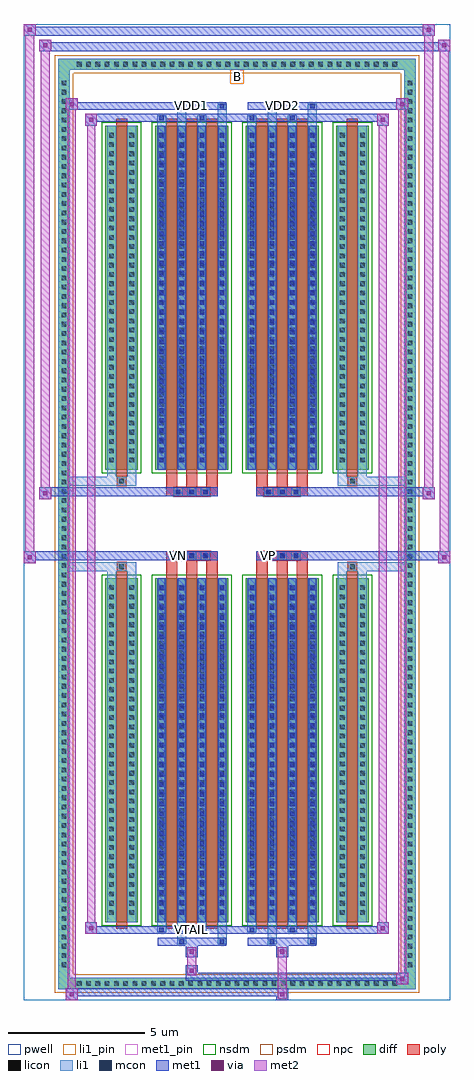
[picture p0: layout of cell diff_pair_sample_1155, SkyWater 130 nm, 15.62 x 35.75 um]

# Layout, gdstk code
import gdstk
lib = gdstk.Library(unit=1e-6, precision=5e-09)
def R(c, l, rs):  # rectangles x0, y0, x1, y1
    for r in rs: c.add(gdstk.rectangle(r[:2], r[2:], *l))
def A(c, l, x, y, w, h, nx, ny, dx, dy):  # array of equal rectangles
    R(c, l, [(x+i*dx, y+j*dy, x+i*dx+w, y+j*dy+h) for i in range(nx) for j in range(ny)])
def P(c, l, *ps):  # polygons
    for p in ps: c.add(gdstk.Polygon(p, *l))
pwell = (64, 44)
diff = (65, 20)
poly = (66, 20)
licon = (66, 44)
li1_pin = (67, 16)
li1 = (67, 20)
mcon = (67, 44)
met1_pin = (68, 16)
met1 = (68, 20)
via = (68, 44)
met2 = (69, 20)
nsdm = (93, 44)
psdm = (94, 20)
npc = (95, 20)

diff_pair_sample_1155 = lib.new_cell('diff_pair_sample_1155')
R(diff_pair_sample_1155, pwell, [(-7.81,-17.44,7.81,18.31), (-5.13,-15.63,-0.01,-0.805), (0.01,-15.63,5.13,-0.805), (-5.13,0.805,-0.01,15.63), (0.01,0.805,5.13,15.63)])
A(diff_pair_sample_1155, diff, -5.985, -17.04, 0.41, 0.41, 35, 2, 0.34, 33.67)
A(diff_pair_sample_1155, diff, -6.54, -16.355, 0.41, 0.41, 1, 96, 0, 0.34)
A(diff_pair_sample_1155, diff, 6.13, -16.355, 0.41, 0.41, 1, 96, 0, 0.34)
R(diff_pair_sample_1155, diff, [(-5.985,-17.04,5.985,-16.63), (-6.54,-16.355,-6.13,16.355), (6.13,-16.355,6.54,16.355), (-4.82,-14.585,-3.63,-1.985), (-2.99,-14.585,-0.32,-1.985), (0.32,-14.585,2.99,-1.985), (3.63,-14.585,4.82,-1.985), (-4.82,1.985,-3.63,14.585), (-2.99,1.985,-0.32,14.585), (0.32,1.985,2.99,14.585), (3.63,1.985,4.82,14.585), (-5.985,16.63,5.985,17.04)])
P(diff_pair_sample_1155, diff, [(6.54,17.04),(-6.54,17.04),(-6.54,-16.63),(-6.13,-16.63),(-6.13,16.63),(6.13,16.63),(6.13,-16.63),(-6.13,-16.63),(-6.54,-16.63),(-6.54,-17.04),(6.54,-17.04)])
A(diff_pair_sample_1155, poly, -2.6, -14.835, 0.41, 13.1, 3, 2, 0.74, 16.57)
A(diff_pair_sample_1155, poly, 0.71, -14.835, 0.41, 13.1, 3, 2, 0.74, 16.57)
A(diff_pair_sample_1155, poly, -2.6, -1.735, 0.41, 0.4, 3, 2, 0.74, 3.07)
A(diff_pair_sample_1155, poly, 0.71, -1.735, 0.41, 0.4, 3, 2, 0.74, 3.07)
A(diff_pair_sample_1155, poly, -2.32, -1.335, 0.33, 0.33, 3, 2, 0.5, 2.34)
A(diff_pair_sample_1155, poly, 0.99, -1.335, 0.33, 0.33, 3, 2, 0.5, 2.34)
R(diff_pair_sample_1155, poly, [(-4.43,-14.835,-4.02,-1.735), (4.02,-14.835,4.43,-1.735), (-4.39,-1.735,-4.06,-1.405), (-4.39,-1.735,-4.06,-1.405), (4.06,-1.735,4.39,-1.405), (4.06,-1.735,4.39,-1.405), (-2.6,-1.335,-0.71,-1.005), (0.71,-1.335,2.6,-1.005), (-2.6,1.005,-0.71,1.335), (0.71,1.005,2.6,1.335), (-4.39,1.405,-4.06,1.735), (-4.39,1.405,-4.06,1.735), (4.06,1.405,4.39,1.735), (4.06,1.405,4.39,1.735), (-4.43,1.735,-4.02,14.835), (4.02,1.735,4.43,14.835)])
A(diff_pair_sample_1155, licon, -5.865, -16.92, 0.17, 0.17, 35, 2, 0.34, 33.67)
A(diff_pair_sample_1155, licon, -6.42, -16.235, 0.17, 0.17, 1, 96, 0, 0.34)
A(diff_pair_sample_1155, licon, 6.25, -16.235, 0.17, 0.17, 1, 96, 0, 0.34)
A(diff_pair_sample_1155, licon, -4.68, -14.32, 0.17, 0.17, 1, 36, 0, 0.34)
A(diff_pair_sample_1155, licon, -3.94, -14.32, 0.17, 0.17, 1, 36, 0, 0.34)
A(diff_pair_sample_1155, licon, -2.85, -14.32, 0.17, 0.17, 4, 36, 0.74, 0.34)
A(diff_pair_sample_1155, licon, 0.46, -14.32, 0.17, 0.17, 4, 36, 0.74, 0.34)
A(diff_pair_sample_1155, licon, 3.77, -14.32, 0.17, 0.17, 1, 36, 0, 0.34)
A(diff_pair_sample_1155, licon, 4.51, -14.32, 0.17, 0.17, 1, 36, 0, 0.34)
A(diff_pair_sample_1155, licon, -2.24, -1.255, 0.17, 0.17, 3, 2, 0.5, 2.34)
A(diff_pair_sample_1155, licon, 1.07, -1.255, 0.17, 0.17, 3, 2, 0.5, 2.34)
A(diff_pair_sample_1155, licon, -4.68, 2.25, 0.17, 0.17, 1, 36, 0, 0.34)
A(diff_pair_sample_1155, licon, -3.94, 2.25, 0.17, 0.17, 1, 36, 0, 0.34)
A(diff_pair_sample_1155, licon, -2.85, 2.25, 0.17, 0.17, 4, 36, 0.74, 0.34)
A(diff_pair_sample_1155, licon, 0.46, 2.25, 0.17, 0.17, 4, 36, 0.74, 0.34)
A(diff_pair_sample_1155, licon, 3.77, 2.25, 0.17, 0.17, 1, 36, 0, 0.34)
A(diff_pair_sample_1155, licon, 4.51, 2.25, 0.17, 0.17, 1, 36, 0, 0.34)
R(diff_pair_sample_1155, licon, [(-4.31,-1.655,-4.14,-1.485), (4.14,-1.655,4.31,-1.485), (-4.31,1.485,-4.14,1.655), (4.14,1.485,4.31,1.655)])
R(diff_pair_sample_1155, li1_pin, [(-0.25,16.13,0.25,16.63)])
A(diff_pair_sample_1155, li1, -5.945, -17, 0.33, 0.33, 35, 2, 0.34, 33.67)
A(diff_pair_sample_1155, li1, -6.5, -16.315, 0.33, 0.33, 1, 96, 0, 0.34)
A(diff_pair_sample_1155, li1, 6.17, -16.315, 0.33, 0.33, 1, 96, 0, 0.34)
A(diff_pair_sample_1155, li1, -2.93, -14.585, 0.33, 12.6, 4, 2, 0.74, 16.57)
A(diff_pair_sample_1155, li1, 0.38, -14.585, 0.33, 12.6, 4, 2, 0.74, 16.57)
A(diff_pair_sample_1155, li1, -4.76, -14.4, 0.33, 0.33, 1, 36, 0, 0.34)
A(diff_pair_sample_1155, li1, -4.02, -14.4, 0.33, 0.33, 1, 36, 0, 0.34)
A(diff_pair_sample_1155, li1, -2.93, -14.4, 0.33, 0.33, 4, 36, 0.74, 0.34)
A(diff_pair_sample_1155, li1, 0.38, -14.4, 0.33, 0.33, 4, 36, 0.74, 0.34)
A(diff_pair_sample_1155, li1, 3.69, -14.4, 0.33, 0.33, 1, 36, 0, 0.34)
A(diff_pair_sample_1155, li1, 4.43, -14.4, 0.33, 0.33, 1, 36, 0, 0.34)
A(diff_pair_sample_1155, li1, -2.85, -14.31, 0.17, 0.17, 4, 34, 0.74, 0.36)
A(diff_pair_sample_1155, li1, -2.85, -14.31, 0.17, 12.05, 4, 2, 0.74, 16.57)
A(diff_pair_sample_1155, li1, 0.46, -14.31, 0.17, 0.17, 4, 34, 0.74, 0.36)
A(diff_pair_sample_1155, li1, 0.46, -14.31, 0.17, 12.05, 4, 2, 0.74, 16.57)
A(diff_pair_sample_1155, li1, -2.32, -1.335, 0.33, 0.33, 3, 2, 0.5, 2.34)
A(diff_pair_sample_1155, li1, 0.99, -1.335, 0.33, 0.33, 3, 2, 0.5, 2.34)
A(diff_pair_sample_1155, li1, -4.76, 2.17, 0.33, 0.33, 1, 36, 0, 0.34)
A(diff_pair_sample_1155, li1, -4.02, 2.17, 0.33, 0.33, 1, 36, 0, 0.34)
A(diff_pair_sample_1155, li1, -2.93, 2.17, 0.33, 0.33, 4, 36, 0.74, 0.34)
A(diff_pair_sample_1155, li1, 0.38, 2.17, 0.33, 0.33, 4, 36, 0.74, 0.34)
A(diff_pair_sample_1155, li1, 3.69, 2.17, 0.33, 0.33, 1, 36, 0, 0.34)
A(diff_pair_sample_1155, li1, 4.43, 2.17, 0.33, 0.33, 1, 36, 0, 0.34)
A(diff_pair_sample_1155, li1, -2.85, 2.26, 0.17, 0.17, 4, 34, 0.74, 0.36)
A(diff_pair_sample_1155, li1, 0.46, 2.26, 0.17, 0.17, 4, 34, 0.74, 0.36)
R(diff_pair_sample_1155, li1, [(-6.54,-17.04,-6.13,-16.63), (-6.54,-17.04,-6.13,-16.63), (-6.13,-17.04,6.13,-16.63), (6.13,-17.04,6.54,-16.63), (6.13,-17.04,6.54,-16.63), (-6.54,-16.63,-6.13,16.63), (6.13,-16.63,6.54,16.63), (-2.19,-15.39,-1.86,-14.585), (-2.11,-15.39,-1.94,-15.22), (-0.71,-15.39,-0.38,-14.585), (-0.63,-15.39,-0.46,-15.22), (1.12,-15.39,1.45,-14.585), (1.2,-15.39,1.37,-15.22), (2.6,-15.39,2.93,-14.585), (2.68,-15.39,2.85,-15.22), (-2.93,-14.96,-2.6,-14.585), (-2.85,-14.96,-2.68,-14.79), (-1.45,-14.96,-1.12,-14.585), (-1.37,-14.96,-1.2,-14.79), (0.38,-14.96,0.71,-14.585), (0.46,-14.96,0.63,-14.79), (1.86,-14.96,2.19,-14.585), (1.94,-14.96,2.11,-14.79), (-4.76,-14.585,-4.43,-1.985), (-4.02,-14.585,-3.69,-1.985), (3.69,-14.585,4.02,-1.985), (4.43,-14.585,4.76,-1.985), (-4.76,-1.985,-4.43,-1.405), (-4.02,-1.985,-3.69,-1.405), (3.69,-1.985,4.02,-1.405), (4.43,-1.985,4.76,-1.405), (-6.54,-1.735,-4.39,-1.405), (-4.76,-1.735,-4.39,-1.405), (-4.39,-1.735,-4.06,-1.405), (-4.06,-1.735,-3.69,-1.405), (3.69,-1.735,4.06,-1.405), (4.06,-1.735,4.39,-1.405), (4.06,-1.735,6.54,-1.405), (4.39,-1.735,4.76,-1.405), (-6.54,1.405,-4.39,1.735), (-4.76,1.405,-4.39,1.735), (-4.76,1.405,-4.43,1.985), (-4.39,1.405,-4.06,1.735), (-4.06,1.405,-3.69,1.735), (-4.02,1.405,-3.69,1.985), (3.69,1.405,4.06,1.735), (3.69,1.405,4.02,1.985), (4.06,1.405,4.39,1.735), (4.06,1.405,6.54,1.735), (4.39,1.405,4.76,1.735), (4.43,1.405,4.76,1.985), (-4.76,1.985,-4.43,14.585), (-4.02,1.985,-3.69,14.585), (3.69,1.985,4.02,14.585), (4.43,1.985,4.76,14.585), (-2.93,14.585,-2.6,14.96), (-2.19,14.585,-1.86,15.39), (-1.45,14.585,-1.12,14.96), (-0.71,14.585,-0.38,15.39), (0.38,14.585,0.71,14.96), (1.12,14.585,1.45,15.39), (1.86,14.585,2.19,14.96), (2.6,14.585,2.93,15.39), (-2.85,14.79,-2.68,14.96), (-1.37,14.79,-1.2,14.96), (0.46,14.79,0.63,14.96), (1.94,14.79,2.11,14.96), (-2.11,15.22,-1.94,15.39), (-0.63,15.22,-0.46,15.39), (1.2,15.22,1.37,15.39), (2.68,15.22,2.85,15.39), (-6.54,16.63,-6.13,17.04), (-6.54,16.63,-6.13,17.04), (-6.13,16.63,6.13,17.04), (6.13,16.63,6.54,17.04), (6.13,16.63,6.54,17.04)])
A(diff_pair_sample_1155, mcon, -2.85, -14.31, 0.17, 0.17, 4, 34, 0.74, 0.36)
A(diff_pair_sample_1155, mcon, 0.46, -14.31, 0.17, 0.17, 4, 34, 0.74, 0.36)
A(diff_pair_sample_1155, mcon, -2.24, -1.255, 0.17, 0.17, 3, 2, 0.5, 2.34)
A(diff_pair_sample_1155, mcon, 1.07, -1.255, 0.17, 0.17, 3, 2, 0.5, 2.34)
A(diff_pair_sample_1155, mcon, -2.85, 2.26, 0.17, 0.17, 4, 34, 0.74, 0.36)
A(diff_pair_sample_1155, mcon, 0.46, 2.26, 0.17, 0.17, 4, 34, 0.74, 0.36)
R(diff_pair_sample_1155, mcon, [(-2.11,-15.39,-1.94,-15.22), (-0.63,-15.39,-0.46,-15.22), (1.2,-15.39,1.37,-15.22), (2.68,-15.39,2.85,-15.22), (-2.85,-14.96,-2.68,-14.79), (-1.37,-14.96,-1.2,-14.79), (0.46,-14.96,0.63,-14.79), (1.94,-14.96,2.11,-14.79), (-2.85,14.79,-2.68,14.96), (-1.37,14.79,-1.2,14.96), (0.46,14.79,0.63,14.96), (1.94,14.79,2.11,14.96), (-2.11,15.22,-1.94,15.39), (-0.63,15.22,-0.46,15.39), (1.2,15.22,1.37,15.39), (2.68,15.22,2.85,15.39)])
R(diff_pair_sample_1155, met1_pin, [(-1.79,-15,-1.52,-14.73), (-2.29,-1.295,-2.02,-1.025), (1.02,-1.295,1.29,-1.025), (-1.79,15.18,-1.52,15.45), (1.52,15.18,1.79,15.45)])
A(diff_pair_sample_1155, met1, -2.91, -14.585, 0.29, 12.6, 4, 2, 0.74, 16.57)
A(diff_pair_sample_1155, met1, 0.4, -14.585, 0.29, 12.6, 4, 2, 0.74, 16.57)
A(diff_pair_sample_1155, met1, -2.91, -14.37, 0.29, 0.29, 4, 34, 0.74, 0.36)
A(diff_pair_sample_1155, met1, 0.4, -14.37, 0.29, 0.29, 4, 34, 0.74, 0.36)
A(diff_pair_sample_1155, met1, -2.3, -1.315, 0.29, 0.29, 3, 2, 0.5, 2.34)
A(diff_pair_sample_1155, met1, 1.01, -1.315, 0.29, 0.29, 3, 2, 0.5, 2.34)
A(diff_pair_sample_1155, met1, -2.91, 2.2, 0.29, 0.29, 4, 34, 0.74, 0.36)
A(diff_pair_sample_1155, met1, 0.4, 2.2, 0.29, 0.29, 4, 34, 0.74, 0.36)
R(diff_pair_sample_1155, met1, [(-6.27,-17.44,-5.84,-17.01), (1.44,-17.44,1.87,-17.01), (-6.27,-17.3,1.87,-17.01), (5.84,-16.87,6.27,-16.44), (-1.87,-16.73,6.27,-16.44), (-1.87,-16.59,-1.44,-16.16), (-1.87,-15.88,-1.44,-15.45), (1.44,-15.88,1.87,-15.45), (-2.91,-15.45,-0.4,-15.16), (-2.17,-15.45,-1.88,-15.16), (-0.69,-15.45,-0.4,-15.16), (0.4,-15.45,2.91,-15.16), (1.14,-15.45,1.43,-15.16), (2.62,-15.45,2.91,-15.16), (-5.56,-15.02,-5.13,-14.59), (-5.56,-15.02,-2.91,-14.73), (-2.91,-15.02,-2.62,-14.73), (-2.91,-15.02,-0.4,-14.73), (-1.43,-15.02,-1.14,-14.73), (-0.4,-15.02,0.4,-14.73), (0.4,-15.02,0.69,-14.73), (0.4,-15.02,2.91,-14.73), (1.88,-15.02,2.17,-14.73), (2.91,-15.02,5.56,-14.73), (5.13,-15.02,5.56,-14.59), (-7.81,-1.435,-7.38,-1.005), (7.38,-1.435,7.81,-1.005), (-7.81,-1.335,-0.71,-1.005), (-2.6,-1.335,-0.71,-1.005), (0.71,-1.335,2.6,-1.005), (0.71,-1.335,7.81,-1.005), (-7.24,0.905,-6.81,1.335), (6.81,0.905,7.24,1.335), (-7.24,1.005,-2.6,1.335), (-2.6,1.005,-0.71,1.335), (0.71,1.005,2.6,1.335), (2.6,1.005,7.24,1.335), (-5.56,14.59,-5.13,15.02), (5.13,14.59,5.56,15.02), (-5.56,14.73,-2.91,15.02), (-2.91,14.73,-2.62,15.02), (-2.91,14.73,-0.4,15.02), (-1.43,14.73,-1.14,15.02), (-0.4,14.73,0.4,15.02), (0.4,14.73,0.69,15.02), (0.4,14.73,2.91,15.02), (1.88,14.73,2.17,15.02), (2.91,14.73,5.56,15.02), (-6.27,15.16,-5.84,15.59), (-6.27,15.16,-2.91,15.45), (-2.91,15.16,-0.4,15.45), (-2.17,15.16,-1.88,15.45), (-0.69,15.16,-0.4,15.45), (0.4,15.16,2.91,15.45), (1.14,15.16,1.43,15.45), (2.62,15.16,2.91,15.45), (2.91,15.16,6.27,15.45), (5.84,15.16,6.27,15.59), (-7.24,17.31,-6.81,17.74), (-7.24,17.31,-5.13,17.64), (-5.13,17.31,5.13,17.64), (5.13,17.31,7.81,17.64), (7.38,17.31,7.81,17.74), (-7.81,17.88,-7.38,18.31), (-7.81,17.88,-5.13,18.21), (-5.13,17.88,5.13,18.21), (5.13,17.88,7.24,18.21), (6.81,17.88,7.24,18.31)])
R(diff_pair_sample_1155, via, [(-6.13,-17.3,-5.98,-17.15), (1.58,-17.3,1.73,-17.15), (5.98,-16.73,6.13,-16.58), (-1.73,-16.45,-1.58,-16.3), (-1.73,-15.74,-1.58,-15.59), (1.58,-15.74,1.73,-15.59), (-5.42,-14.88,-5.27,-14.73), (5.27,-14.88,5.42,-14.73), (-7.67,-1.295,-7.52,-1.145), (7.52,-1.295,7.67,-1.145), (-7.1,1.045,-6.95,1.195), (6.95,1.045,7.1,1.195), (-5.42,14.73,-5.27,14.88), (5.27,14.73,5.42,14.88), (-6.13,15.3,-5.98,15.45), (5.98,15.3,6.13,15.45), (-7.1,17.45,-6.95,17.6), (7.52,17.45,7.67,17.6), (-7.67,18.02,-7.52,18.17), (6.95,18.02,7.1,18.17)])
R(diff_pair_sample_1155, met2, [(-6.27,-17.44,-5.84,-17.01), (-6.2,-17.44,-5.91,15.59), (-5.91,-17.44,-5.84,-17.01), (-6.22,-17.39,-5.89,-17.06), (1.49,-17.39,1.82,-17.06), (1.49,-17.06,1.82,-15.83), (5.84,-16.87,6.27,-16.44), (5.91,-16.87,6.2,15.59), (6.2,-16.87,6.27,-16.44), (5.89,-16.82,6.22,-16.49), (-1.82,-16.54,-1.49,-16.21), (-1.82,-16.21,-1.49,-15.83), (-1.82,-15.83,-1.49,-15.5), (1.49,-15.83,1.82,-15.5), (-5.56,-15.02,-5.13,-14.59), (-5.49,-15.02,-5.2,15.02), (-5.2,-15.02,-5.13,-14.59), (5.13,-15.02,5.56,-14.59), (5.2,-15.02,5.49,15.02), (5.49,-15.02,5.56,-14.59), (-5.51,-14.97,-5.18,-14.64), (5.18,-14.97,5.51,-14.64), (-7.81,-1.435,-7.38,-1.005), (-7.76,-1.435,-7.43,18.31), (-7.43,-1.435,-7.38,-1.005), (7.38,-1.435,7.81,-1.005), (7.43,-1.435,7.76,17.74), (7.76,-1.435,7.81,-1.005), (-7.76,-1.385,-7.43,-1.055), (7.43,-1.385,7.76,-1.055), (-7.24,0.905,-6.81,1.335), (-7.19,0.905,-6.86,17.74), (-6.86,0.905,-6.81,1.335), (6.81,0.905,7.24,1.335), (6.86,0.905,7.19,18.31), (7.19,0.905,7.24,1.335), (-7.19,0.955,-6.86,1.285), (6.86,0.955,7.19,1.285), (-5.56,14.59,-5.13,15.02), (-5.2,14.59,-5.13,15.02), (5.13,14.59,5.56,15.02), (5.49,14.59,5.56,15.02), (-5.51,14.64,-5.18,14.97), (5.18,14.64,5.51,14.97), (-6.27,15.16,-5.84,15.59), (-5.91,15.16,-5.84,15.59), (5.84,15.16,6.27,15.59), (6.2,15.16,6.27,15.59), (-6.22,15.21,-5.89,15.54), (5.89,15.21,6.22,15.54), (-7.24,17.31,-6.81,17.74), (-6.86,17.31,-6.81,17.74), (7.38,17.31,7.81,17.74), (7.76,17.31,7.81,17.74), (-7.19,17.36,-6.86,17.69), (7.43,17.36,7.76,17.69), (-7.81,17.88,-7.38,18.31), (-7.43,17.88,-7.38,18.31), (6.81,17.88,7.24,18.31), (7.19,17.88,7.24,18.31), (-7.76,17.93,-7.43,18.26), (6.86,17.93,7.19,18.26)])
R(diff_pair_sample_1155, nsdm, [(-4.95,-14.715,-3.5,-1.855), (-3.12,-14.715,-0.19,-1.855), (0.19,-14.715,3.12,-1.855), (3.5,-14.715,4.95,-1.855), (-4.95,1.855,-3.5,14.715), (-3.12,1.855,-0.19,14.715), (0.19,1.855,3.12,14.715), (3.5,1.855,4.95,14.715)])
P(diff_pair_sample_1155, psdm, [(6.67,17.17),(-6.67,17.17),(-6.67,-16.5),(-6,-16.5),(-6,16.5),(6,16.5),(6,-16.5),(-6,-16.5),(-6.67,-16.5),(-6.67,-17.17),(6.67,-17.17)])
A(diff_pair_sample_1155, npc, -2.34, -1.355, 0.37, 0.37, 3, 2, 0.5, 2.34)
A(diff_pair_sample_1155, npc, 0.97, -1.355, 0.37, 0.37, 3, 2, 0.5, 2.34)
R(diff_pair_sample_1155, npc, [(-4.41,-1.755,-4.04,-1.385), (4.04,-1.755,4.41,-1.385), (-2.34,-1.355,-1.47,-0.985), (-2.34,-1.355,-1.47,-0.985), (-1.84,-1.355,-0.97,-0.985), (-1.84,-1.355,-0.97,-0.985), (0.97,-1.355,1.84,-0.985), (0.97,-1.355,1.84,-0.985), (1.47,-1.355,2.34,-0.985), (1.47,-1.355,2.34,-0.985), (-2.34,0.985,-1.47,1.355), (-2.34,0.985,-1.47,1.355), (-1.84,0.985,-0.97,1.355), (-1.84,0.985,-0.97,1.355), (0.97,0.985,1.84,1.355), (0.97,0.985,1.84,1.355), (1.47,0.985,2.34,1.355), (1.47,0.985,2.34,1.355), (-4.41,1.385,-4.04,1.755), (4.04,1.385,4.41,1.755)])
diff_pair_sample_1155.add(gdstk.Label('VTAIL', (-1.655,-14.865), layer=68, texttype=5))
diff_pair_sample_1155.add(gdstk.Label('VN', (-2.155,-1.16), layer=68, texttype=5))
diff_pair_sample_1155.add(gdstk.Label('VP', (1.155,-1.16), layer=68, texttype=5))
diff_pair_sample_1155.add(gdstk.Label('B', (0,16.38), layer=67, texttype=5))
diff_pair_sample_1155.add(gdstk.Label('VDD2', (1.655,15.315), layer=68, texttype=5))
diff_pair_sample_1155.add(gdstk.Label('VDD1', (-1.655,15.315), layer=68, texttype=5))

lib.write_gds('diff_pair_sample_1155.gds')
